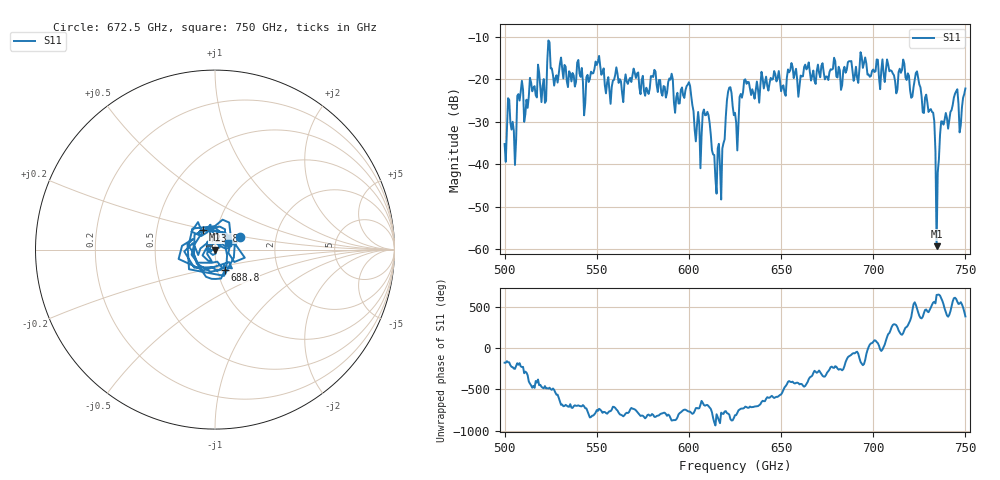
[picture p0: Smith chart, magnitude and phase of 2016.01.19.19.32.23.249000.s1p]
!Created with skrf (http://scikit-rf.org).
# GHz S RI R 50.0
!freq ReS11 ImS11
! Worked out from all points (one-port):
!   401 points, 500 GHz to 750 GHz, reference 50 ohm
!   lowest |S11| = -59.3 dB at 734.4 GHz (marker M1), VSWR 1.00, Z = 50 - j0.103 ohm
!   |S11| at or under -10 dB: start of sweep to end of sweep
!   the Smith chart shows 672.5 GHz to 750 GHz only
!   S11 on the Smith chart (normalised r, x): 672.5 GHz: 1.31, +0.18; 688.8 GHz: 1.09, -0.25; 723.8 GHz: 0.86, +0.19; 750 GHz: 1.15, +0.08
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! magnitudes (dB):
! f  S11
! 500 GHz  -35.2
! 503.1 GHz  -30.1
! 505 GHz  -32.1
! 508.1 GHz  -25.0
! 511.9 GHz  -24.8
! 521.2 GHz  -19.9
! 524.4 GHz  -11.2
! 531.2 GHz  -17.5
! 562.5 GHz  -19.9
! 590 GHz  -20.1
! 593.8 GHz  -23.2
! 600 GHz  -20.7
! 605 GHz  -27.7
! 609.4 GHz  -28.4
! 616.2 GHz  -35.2
! 621.9 GHz  -21.9
! 625 GHz  -27.9
! 631.2 GHz  -21.0
! 656.2 GHz  -17.0
! 672.5 GHz  -16.2
! 687.5 GHz  -15.7
! 688.8 GHz  -17.9
! 718.8 GHz  -18.6
! 723.8 GHz  -18.1
! 731.9 GHz  -27.7
! 734.4 GHz  -59.3
! 738.1 GHz  -30.7
! 750 GHz  -22.1
